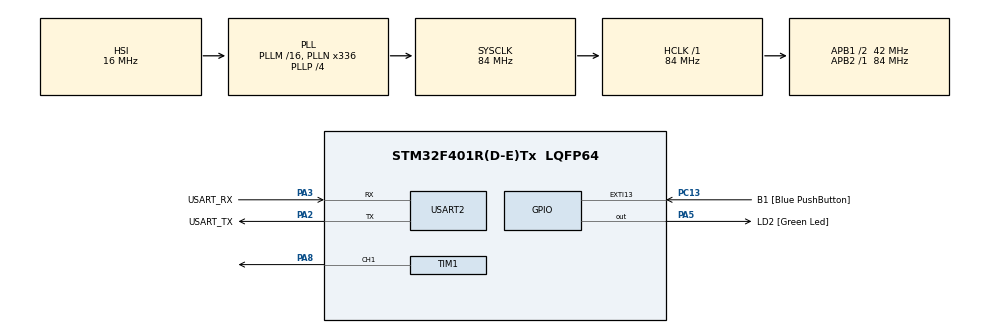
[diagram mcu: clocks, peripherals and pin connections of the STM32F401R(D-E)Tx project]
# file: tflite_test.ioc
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Mcu.Family=STM32F4
Mcu.Name=STM32F401R(D-E)Tx
Mcu.Package=LQFP64
NVIC.PriorityGroup=NVIC_PRIORITYGROUP_0
PA13.GPIO_Label=TMS
PA13.Mode=Serial_Wire
PA13.Signal=SYS_JTMS-SWDIO
PA14.GPIO_Label=TCK
PA14.Mode=Serial_Wire
PA14.Signal=SYS_JTCK-SWCLK
PA2.GPIO_Label=USART_TX
PA2.GPIO_Mode=GPIO_MODE_AF_PP
PA2.GPIO_PuPd=GPIO_NOPULL
PA2.GPIO_Speed=GPIO_SPEED_FREQ_LOW
PA2.Mode=Asynchronous
PA2.Signal=USART2_TX
PA3.GPIO_Label=USART_RX
PA3.GPIO_Mode=GPIO_MODE_AF_PP
PA3.GPIO_PuPd=GPIO_NOPULL
PA3.GPIO_Speed=GPIO_SPEED_FREQ_LOW
PA3.Mode=Asynchronous
PA3.Signal=USART2_RX
PA5.GPIO_Label=LD2 [Green Led]
PA5.GPIO_Mode=GPIO_MODE_OUTPUT_PP
PA5.GPIO_PuPd=GPIO_NOPULL
PA5.GPIO_Speed=GPIO_SPEED_FREQ_LOW
PA5.Signal=GPIO_Output
PA8.Signal=S_TIM1_CH1
PB3.GPIO_Label=SWO
PB3.Signal=SYS_JTDO-SWO
PC13-ANTI_TAMP.GPIO_Label=B1 [Blue PushButton]
PC13-ANTI_TAMP.GPIO_ModeDefaultEXTI=GPIO_MODE_IT_FALLING
PC13-ANTI_TAMP.GPIO_PuPd=GPIO_NOPULL
PC13-ANTI_TAMP.Signal=GPXTI13
PC14-OSC32_IN.Mode=LSE-External-Oscillator
PC14-OSC32_IN.Signal=RCC_OSC32_IN
PC15-OSC32_OUT.Mode=LSE-External-Oscillator
PC15-OSC32_OUT.Signal=RCC_OSC32_OUT
PH0\ -\ OSC_IN.Mode=HSE-External-Clock-Source
PH0\ -\ OSC_IN.Signal=RCC_OSC_IN
PH1\ -\ OSC_OUT.Mode=HSE-External-Clock-Source
PH1\ -\ OSC_OUT.Signal=RCC_OSC_OUT
ProjectManager.HeapSize=0x200
ProjectManager.StackSize=0x400
ProjectManager.TargetToolchain=STM32CubeIDE
RCC.48MHZClocksFreq_Value=48000000
RCC.AHBFreq_Value=84000000
RCC.APB1CLKDivider=RCC_HCLK_DIV2
RCC.APB1Freq_Value=42000000
RCC.APB1TimFreq_Value=84000000
RCC.APB2Freq_Value=84000000
RCC.APB2TimFreq_Value=84000000
RCC.CortexFreq_Value=84000000
RCC.HCLKFreq_Value=84000000
RCC.HSE_VALUE=8000000
RCC.HSI_VALUE=16000000
RCC.PLLN=336
RCC.PLLP=RCC_PLLP_DIV4
RCC.PLLQ=7
RCC.SYSCLKFreq_VALUE=84000000
RCC.SYSCLKSource=RCC_SYSCLKSOURCE_PLLCLK
RCC.VCOOutputFreq_Value=336000000
SH.S_TIM1_CH1.0=TIM1_CH1,Output Compare1 CH1
TIM1.Channel-Output\ Compare1\ CH1=TIM_CHANNEL_1
USART2.VirtualMode=VM_ASYNC
VP_TIM1_VS_ClockSourceINT.Mode=Internal
board=NUCLEO-F401RE

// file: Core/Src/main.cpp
/* USER CODE BEGIN Header */
/**
  ******************************************************************************
  * @file           : main.c
  * @brief          : Main program body
  ******************************************************************************
  * @attention
  *
  * Copyright (c) 2023 STMicroelectronics.
  * All rights reserved.
  *
  * This software is licensed under terms that can be found in the LICENSE file
  * in the root directory of this software component.
  * If no LICENSE file comes with this software, it is provided AS-IS.
  *
  ******************************************************************************
  */
/* USER CODE END Header */
#include "main.h"

/* USER CODE BEGIN Includes */
#include "string.h"
// Tensorflow includes
//#include "tensorflow/lite/micro/kernels/micro_ops.h"
#include "tensorflow/lite/micro/micro_error_reporter.h"
#include "tensorflow/lite/micro/micro_interpreter.h"
#include "tensorflow/lite/micro/micro_mutable_op_resolver.h"
#include "tensorflow/lite/version.h"
#include "sine_model.h"
/* USER CODE END Includes */

TIM_HandleTypeDef htim1;

UART_HandleTypeDef huart2;

/* USER CODE BEGIN PV */

// TFLite globals
namespace {
	tflite::ErrorReporter* error_reporter = nullptr;
	const tflite::Model* model = nullptr;
	tflite::MicroInterpreter* interpreter = nullptr;
	TfLiteTensor* model_input = nullptr;
	TfLiteTensor* model_output = nullptr;

	// Area of memory for input, output, and other Tensorflow arrays.
	// Adjust by compiling, running, and looking for errors
	constexpr int kTensorArenaSize = 2 * 1024;
	__attribute__((aligned(16)))uint8_t tensor_arena[kTensorArenaSize];
} // anonymous namespace = only accessible in this file

/* USER CODE END PV */

void SystemClock_Config(void);
static void MX_GPIO_Init(void);
static void MX_USART2_UART_Init(void);
static void MX_TIM1_Init(void);

int main(void)
{
  /* USER CODE BEGIN 1 */
  char buf[50];
  int buf_len = 0;
  TfLiteStatus tflite_status;
  uint32_t num_elements;
  uint32_t timestamp;
  float y_val;
  /* USER CODE END 1 */

  /* MCU Configuration--------------------------------------------------------*/

  /* Reset of all peripherals, Initializes the Flash interface and the Systick. */
  HAL_Init();

  /* Configure the system clock */
  SystemClock_Config();

  /* Initialize all configured peripherals */
  MX_GPIO_Init();
  MX_USART2_UART_Init();
  MX_TIM1_Init();
  /* USER CODE BEGIN 2 */

  // Start timer/counter
  HAL_TIM_Base_Start(&htim1);

  // Set up logging
  static tflite::MicroErrorReporter micro_error_reporter;
  error_reporter = &micro_error_reporter;

  error_reporter->Report("STM32 Tensorflow Lite test");

  // Map the model into a usable data structure
  model = tflite::GetModel(sine_model); // name of the array should match the name in the sine_model header file
  if (model->version() != TFLITE_SCHEMA_VERSION)
  {
	  error_reporter->Report("Model version does not match schema");
	  while(1);
  }

  // Pull in only needed operations (should match NN layers). Template parameter
  // <n> is number of ops to be added. Available ops in:
  // tensorflow/lite/micro/kernels/micro_ops.h
  static tflite::MicroMutableOpResolver<1> micro_op_resolver;

  // Register fully connected operator with the OP resolver
  // Changed from:
  // tflite_status = micro_op_resolver.AddBuiltin(tflite::BuiltinOperator_FULLY_CONNECTED, tflite::ops::micro::Register_FULLY_CONNECTED());
  // https://github.com/tensorflow/tensorflow/issues/42756
  tflite_status = micro_op_resolver.AddFullyConnected();

  if (tflite_status != kTfLiteOk) {
	  error_reporter->Report("Could not add FULLY CONNECTED op");
	  while(1);
  }

  // Build an interpreter to run the model with
  static tflite::MicroInterpreter static_interpreter(model, micro_op_resolver, tensor_arena, kTensorArenaSize, error_reporter);
  interpreter = &static_interpreter;

  // Allocate memory from the tensor_arena for the model's tensors
  tflite_status = interpreter->AllocateTensors();
  if (tflite_status != kTfLiteOk) {
	  error_reporter->Report("AllocateTensors() failed");
	  while(1);
  }

  // Assign model input and output buffers (tensors) to pointers
  model_input = interpreter->input(0);
  model_output = interpreter->output(0);

  // Get number of elements in the input tensor
  num_elements = model_input->bytes / sizeof(float);
  buf_len = sprintf(buf, "Number of input elements: %lu\r\n", num_elements);
  HAL_UART_Transmit(&huart2, (uint8_t *)buf, buf_len, 100);
  /* USER CODE END 2 */

  /* Infinite loop */
  while (1)
  {
    // Fill input buffer
    for (uint32_t i = 0; i < num_elements; i++) {
    	model_input->data.f[i] = 2.0f;
    }

    timestamp = htim1.Instance->CNT;

    // Run inference
    tflite_status = interpreter->Invoke();
    if (tflite_status != kTfLiteOk) {
    	error_reporter->Report("Invoke failed");
    }

    // Read output (predicted y) of neural network
    y_val = model_output->data.f[0];

    // Print output of NN along with inference time (microseconds)
    buf_len = sprintf(buf, "Output: %f | Duration: %lu\r\n", y_val, htim1.Instance->CNT - timestamp);
    HAL_UART_Transmit(&huart2, (uint8_t *)buf, buf_len, 100);

    // Wait before doing it all again
    HAL_Delay(500);

  }
}

void SystemClock_Config(void)
{
  RCC_OscInitTypeDef RCC_OscInitStruct = {0};
  RCC_ClkInitTypeDef RCC_ClkInitStruct = {0};

  /** Configure the main internal regulator output voltage
  */
  __HAL_RCC_PWR_CLK_ENABLE();
  __HAL_PWR_VOLTAGESCALING_CONFIG(PWR_REGULATOR_VOLTAGE_SCALE2);

  /** Initializes the RCC Oscillators according to the specified parameters
  * in the RCC_OscInitTypeDef structure.
  */
  RCC_OscInitStruct.OscillatorType = RCC_OSCILLATORTYPE_HSI;
  RCC_OscInitStruct.HSIState = RCC_HSI_ON;
  RCC_OscInitStruct.HSICalibrationValue = RCC_HSICALIBRATION_DEFAULT;
  RCC_OscInitStruct.PLL.PLLState = RCC_PLL_ON;
  RCC_OscInitStruct.PLL.PLLSource = RCC_PLLSOURCE_HSI;
  RCC_OscInitStruct.PLL.PLLM = 16;
  RCC_OscInitStruct.PLL.PLLN = 336;
  RCC_OscInitStruct.PLL.PLLP = RCC_PLLP_DIV4;
  RCC_OscInitStruct.PLL.PLLQ = 7;
  if (HAL_RCC_OscConfig(&RCC_OscInitStruct) != HAL_OK)
  {
    Error_Handler();
  }

  /** Initializes the CPU, AHB and APB buses clocks
  */
  RCC_ClkInitStruct.ClockType = RCC_CLOCKTYPE_HCLK|RCC_CLOCKTYPE_SYSCLK
                              |RCC_CLOCKTYPE_PCLK1|RCC_CLOCKTYPE_PCLK2;
  RCC_ClkInitStruct.SYSCLKSource = RCC_SYSCLKSOURCE_PLLCLK;
  RCC_ClkInitStruct.AHBCLKDivider = RCC_SYSCLK_DIV1;
  RCC_ClkInitStruct.APB1CLKDivider = RCC_HCLK_DIV2;
  RCC_ClkInitStruct.APB2CLKDivider = RCC_HCLK_DIV1;

  if (HAL_RCC_ClockConfig(&RCC_ClkInitStruct, FLASH_LATENCY_2) != HAL_OK)
  {
    Error_Handler();
  }
}

static void MX_TIM1_Init(void)
{

  TIM_ClockConfigTypeDef sClockSourceConfig = {0};
  TIM_MasterConfigTypeDef sMasterConfig = {0};
  TIM_OC_InitTypeDef sConfigOC = {0};
  TIM_BreakDeadTimeConfigTypeDef sBreakDeadTimeConfig = {0};

  htim1.Instance = TIM1;
  htim1.Init.Prescaler = 0;
  htim1.Init.CounterMode = TIM_COUNTERMODE_UP;
  htim1.Init.Period = 65535;
  htim1.Init.ClockDivision = TIM_CLOCKDIVISION_DIV1;
  htim1.Init.RepetitionCounter = 0;
  htim1.Init.AutoReloadPreload = TIM_AUTORELOAD_PRELOAD_DISABLE;
  if (HAL_TIM_Base_Init(&htim1) != HAL_OK)
  {
    Error_Handler();
  }
  sClockSourceConfig.ClockSource = TIM_CLOCKSOURCE_INTERNAL;
  if (HAL_TIM_ConfigClockSource(&htim1, &sClockSourceConfig) != HAL_OK)
  {
    Error_Handler();
  }
  if (HAL_TIM_OC_Init(&htim1) != HAL_OK)
  {
    Error_Handler();
  }
  sMasterConfig.MasterOutputTrigger = TIM_TRGO_RESET;
  sMasterConfig.MasterSlaveMode = TIM_MASTERSLAVEMODE_DISABLE;
  if (HAL_TIMEx_MasterConfigSynchronization(&htim1, &sMasterConfig) != HAL_OK)
  {
    Error_Handler();
  }
  sConfigOC.OCMode = TIM_OCMODE_TIMING;
  sConfigOC.Pulse = 0;
  sConfigOC.OCPolarity = TIM_OCPOLARITY_HIGH;
  sConfigOC.OCNPolarity = TIM_OCNPOLARITY_HIGH;
  sConfigOC.OCFastMode = TIM_OCFAST_DISABLE;
  sConfigOC.OCIdleState = TIM_OCIDLESTATE_RESET;
  sConfigOC.OCNIdleState = TIM_OCNIDLESTATE_RESET;
  if (HAL_TIM_OC_ConfigChannel(&htim1, &sConfigOC, TIM_CHANNEL_1) != HAL_OK)
  {
    Error_Handler();
  }
  sBreakDeadTimeConfig.OffStateRunMode = TIM_OSSR_DISABLE;
  sBreakDeadTimeConfig.OffStateIDLEMode = TIM_OSSI_DISABLE;
  sBreakDeadTimeConfig.LockLevel = TIM_LOCKLEVEL_OFF;
  sBreakDeadTimeConfig.DeadTime = 0;
  sBreakDeadTimeConfig.BreakState = TIM_BREAK_DISABLE;
  sBreakDeadTimeConfig.BreakPolarity = TIM_BREAKPOLARITY_HIGH;
  sBreakDeadTimeConfig.AutomaticOutput = TIM_AUTOMATICOUTPUT_DISABLE;
  if (HAL_TIMEx_ConfigBreakDeadTime(&htim1, &sBreakDeadTimeConfig) != HAL_OK)
  {
    Error_Handler();
  }
  HAL_TIM_MspPostInit(&htim1);

}

static void MX_USART2_UART_Init(void)
{

  huart2.Instance = USART2;
  huart2.Init.BaudRate = 115200;
  huart2.Init.WordLength = UART_WORDLENGTH_8B;
  huart2.Init.StopBits = UART_STOPBITS_1;
  huart2.Init.Parity = UART_PARITY_NONE;
  huart2.Init.Mode = UART_MODE_TX_RX;
  huart2.Init.HwFlowCtl = UART_HWCONTROL_NONE;
  huart2.Init.OverSampling = UART_OVERSAMPLING_16;
  if (HAL_UART_Init(&huart2) != HAL_OK)
  {
    Error_Handler();
  }

}

static void MX_GPIO_Init(void)
{
  GPIO_InitTypeDef GPIO_InitStruct = {0};

  /* GPIO Ports Clock Enable */
  __HAL_RCC_GPIOC_CLK_ENABLE();
  __HAL_RCC_GPIOH_CLK_ENABLE();
  __HAL_RCC_GPIOA_CLK_ENABLE();
  __HAL_RCC_GPIOB_CLK_ENABLE();

  /*Configure GPIO pin Output Level */
  HAL_GPIO_WritePin(LD2_GPIO_Port, LD2_Pin, GPIO_PIN_RESET);

  /*Configure GPIO pin : B1_Pin */
  GPIO_InitStruct.Pin = B1_Pin;
  GPIO_InitStruct.Mode = GPIO_MODE_IT_FALLING;
  GPIO_InitStruct.Pull = GPIO_NOPULL;
  HAL_GPIO_Init(B1_GPIO_Port, &GPIO_InitStruct);

  /*Configure GPIO pin : LD2_Pin */
  GPIO_InitStruct.Pin = LD2_Pin;
  GPIO_InitStruct.Mode = GPIO_MODE_OUTPUT_PP;
  GPIO_InitStruct.Pull = GPIO_NOPULL;
  GPIO_InitStruct.Speed = GPIO_SPEED_FREQ_LOW;
  HAL_GPIO_Init(LD2_GPIO_Port, &GPIO_InitStruct);

}

/* USER CODE BEGIN 4 */
// Custom implementation of DebugLog from Tensorflow
extern "C" void DebugLog(const char* s) {
	HAL_UART_Transmit(&huart2, (uint8_t *)s, strlen(s), 100);
}
/* USER CODE END 4 */

void Error_Handler(void)
{
  __disable_irq();
  while (1)
  {
  }
}
